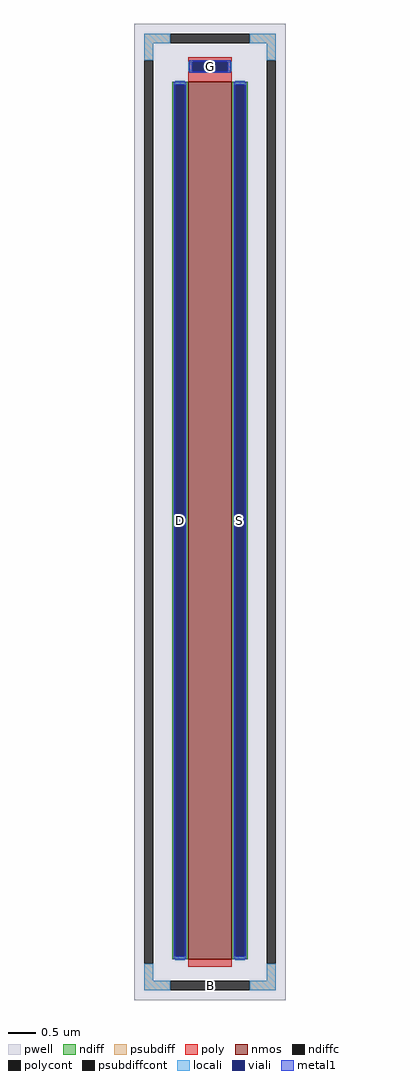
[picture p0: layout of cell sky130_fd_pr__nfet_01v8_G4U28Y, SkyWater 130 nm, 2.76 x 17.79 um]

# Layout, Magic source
magic
tech sky130A
magscale 1 2
<< pwell >>
rect -276 -1779 276 1779
<< nmos >>
rect -80 -1631 80 1569
<< ndiff >>
rect -138 1557 -80 1569
rect -138 -1619 -126 1557
rect -92 -1619 -80 1557
rect -138 -1631 -80 -1619
rect 80 1557 138 1569
rect 80 -1619 92 1557
rect 126 -1619 138 1557
rect 80 -1631 138 -1619
<< ndiffc >>
rect -126 -1619 -92 1557
rect 92 -1619 126 1557
<< psubdiff >>
rect -240 1709 -144 1743
rect 144 1709 240 1743
rect -240 1647 -206 1709
rect 206 1647 240 1709
rect -240 -1709 -206 -1647
rect 206 -1709 240 -1647
rect -240 -1743 -144 -1709
rect 144 -1743 240 -1709
<< psubdiffcont >>
rect -144 1709 144 1743
rect -240 -1647 -206 1647
rect 206 -1647 240 1647
rect -144 -1743 144 -1709
<< poly >>
rect -80 1641 80 1657
rect -80 1607 -64 1641
rect 64 1607 80 1641
rect -80 1569 80 1607
rect -80 -1657 80 -1631
<< polycont >>
rect -64 1607 64 1641
<< locali >>
rect -240 1709 -144 1743
rect 144 1709 240 1743
rect -240 1647 -206 1709
rect 206 1647 240 1709
rect -80 1607 -64 1641
rect 64 1607 80 1641
rect -126 1557 -92 1573
rect -126 -1635 -92 -1619
rect 92 1557 126 1573
rect 92 -1635 126 -1619
rect -240 -1709 -206 -1647
rect 206 -1709 240 -1647
rect -240 -1743 -144 -1709
rect 144 -1743 240 -1709
<< viali >>
rect -64 1607 64 1641
rect -126 -1619 -92 1557
rect 92 -1619 126 1557
<< metal1 >>
rect -76 1641 76 1647
rect -76 1607 -64 1641
rect 64 1607 76 1641
rect -76 1601 76 1607
rect -132 1557 -86 1569
rect -132 -1619 -126 1557
rect -92 -1619 -86 1557
rect -132 -1631 -86 -1619
rect 86 1557 132 1569
rect 86 -1619 92 1557
rect 126 -1619 132 1557
rect 86 -1631 132 -1619
<< labels >>
rlabel psubdiffcont 0 -1726 0 -1726 0 B
port 1 nsew
rlabel ndiffc -109 -31 -109 -31 0 D
port 2 nsew
rlabel ndiffc 109 -31 109 -31 0 S
port 3 nsew
rlabel polycont 0 1624 0 1624 0 G
port 4 nsew
<< properties >>
string FIXED_BBOX -223 -1726 223 1726
string gencell sky130_fd_pr__nfet_01v8
string library sky130
string parameters w 16.0 l 0.8 m 1 nf 1 diffcov 100 polycov 100 guard 1 glc 1 grc 1 gtc 1 gbc 1 tbcov 100 rlcov 100 topc 1 botc 0 poverlap 0 doverlap 1 lmin 0.15 wmin 0.42 class mosfet compatible {sky130_fd_pr__nfet_01v8 sky130_fd_pr__nfet_01v8_lvt  sky130_fd_bs_flash__special_sonosfet_star  sky130_fd_pr__nfet_g5v0d10v5 sky130_fd_pr__nfet_05v0_nvt  sky130_fd_pr__nfet_03v3_nvt} full_metal 1 conn_gates 0 viasrc 100 viadrn 100 viagate 100 viagb 0 viagr 0 viagl 0 viagt 0 doports 1
<< end >>
